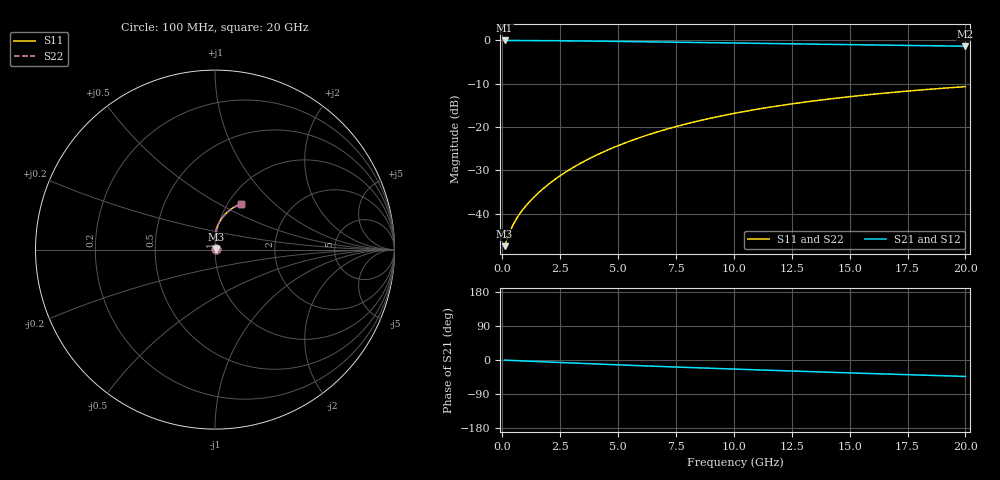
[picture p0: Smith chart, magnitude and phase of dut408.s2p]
! Touchstone file exported from HFSS 2024.1.0
!  File:  C:/UserFiles/LocalFiles/RDL_TSV_Batchsim/temp_RDL_bottom_408_1779683188.aedt
!  Generated:  12:28:57 PM May 25, 2026
!  Design:  RDL_bottom
!  Project:  temp_RDL_bottom_408_1779683188
!  Setup:  Setup1
!  Solution:  Sweep
! Variables:
!  dtsv = 10.80580581um
!  hbump = 3um
!  htsv = 83.25um
!  ldown = 669.03um
!  lrdl = 100um
!  p = 40
!  p1 = 46.08um
!  rhole = 1um
!  t = 450um
!  tdown = 2.27um
!  trdl = 3.915915916um
!  wdown = 28.76um
!  wrdl = 20um
# GHz S MA R 50.000000
! Terminal data exported
! Port[1] = RDL1_T1
! Port[2] = RDL1_T2
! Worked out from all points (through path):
!   200 points, 100 MHz to 20 GHz, reference 50 ohm
!   highest |S21| = -0.03 dB at 100 MHz (marker M1); lowest = -1.4 dB at 20 GHz (marker M2)
!   group delay of S21, straight-line fit = 5.95 ps
!   lowest |S11| = -47.5 dB at 100 MHz (marker M3), VSWR 1.01, Z = 50.4 + j0.141 ohm
!   |S11| at or under -10 dB: start of sweep to end of sweep
!   |S22| runs from -47.5 to -10.7 dB; largest |S21 - S12| = 4.1e-15
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0.1  0.004239 19.3  0.996 -0.3  0.996 -0.3  0.004239 19.3
! Gamma 0 0 0 0
! Port Impedance 50 0 50 0
0.3  0.005913 41.7  0.9954 -0.9  0.9954 -0.9  0.005913 41.7
0.4  0.006857 47.5  0.9951 -1.1  0.9951 -1.1  0.006857 47.5
0.5  0.007776 51.7  0.9948 -1.4  0.9948 -1.4  0.007776 51.7
0.6  0.008668 55.2  0.9945 -1.7  0.9945 -1.7  0.008668 55.2
0.8  0.01042 60.7  0.9939 -2.2  0.9939 -2.2  0.01042 60.7
1.2  0.014 69.0  0.9927 -3.2  0.9927 -3.2  0.014 69.0
1.7  0.01884 76.1  0.9911 -4.5  0.9911 -4.5  0.01884 76.1
2.2  0.02412 80.8  0.989 -5.8  0.989 -5.8  0.02412 80.8
2.8  0.03103 84.7  0.986 -7.4  0.986 -7.4  0.03102 84.6
3.5  0.03982 87.4  0.9819 -9.2  0.9819 -9.2  0.03982 87.4
4.2  0.04936 88.9  0.9772 -10.9  0.9772 -10.9  0.04935 88.9
5  0.06106 89.6  0.9714 -12.8  0.9714 -12.8  0.06104 89.6
5.9  0.07503 89.4  0.9644 -14.9  0.9644 -14.9  0.075 89.3
6.8  0.08963 88.5  0.9571 -17.0  0.9571 -17.0  0.0896 88.4
8.4  0.1165 85.8  0.9438 -20.6  0.9438 -20.6  0.1164 85.8
10.1  0.1453 82.3  0.9298 -24.2  0.9298 -24.2  0.1452 82.3
11.7  0.172 78.7  0.9168 -27.5  0.9168 -27.5  0.1719 78.7
13.4  0.1994 74.8  0.9033 -30.9  0.9033 -30.9  0.1993 74.7
15  0.224 71.1  0.8909 -34.0  0.8909 -34.0  0.2239 71.1
16.7  0.2488 67.3  0.8781 -37.3  0.8781 -37.3  0.2487 67.3
20  0.2924 60.3  0.854 -43.4  0.854 -43.4  0.2923 60.3
